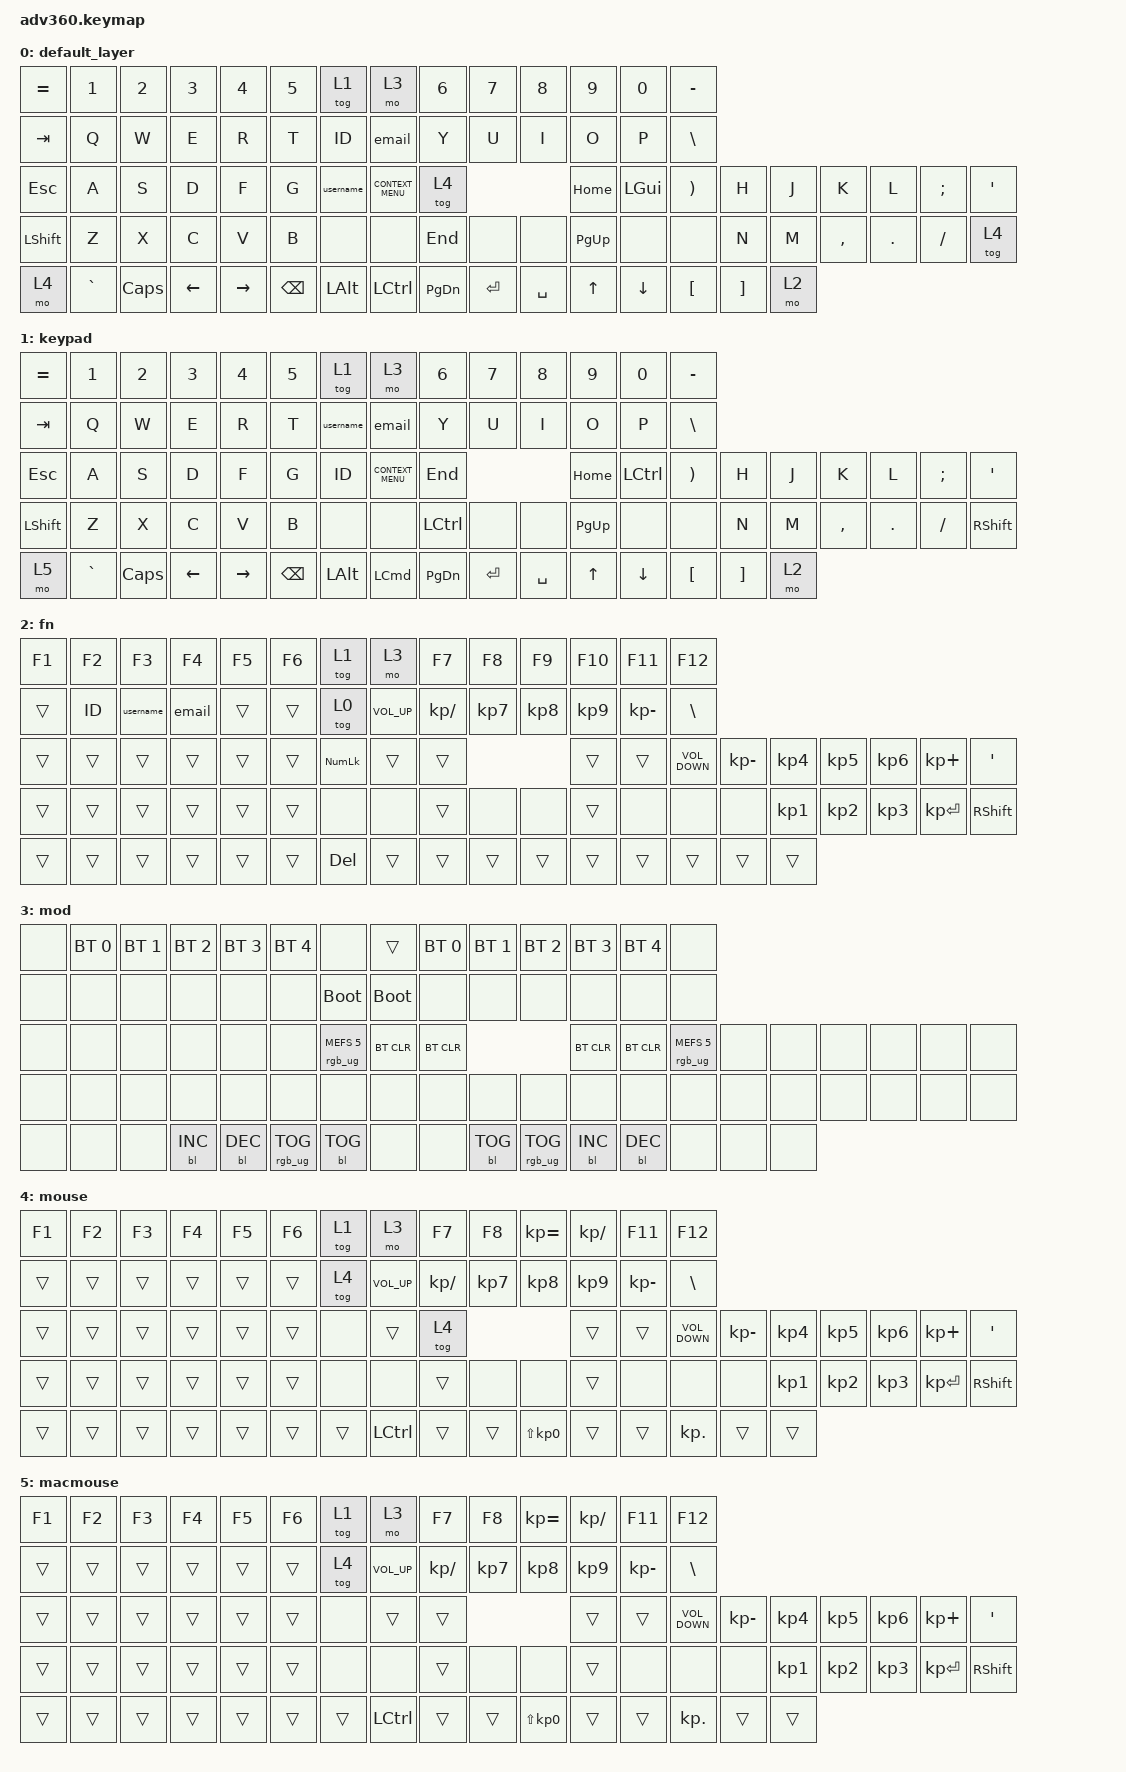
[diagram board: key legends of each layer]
#include <behaviors.dtsi>
#include <dt-bindings/zmk/backlight.h>
#include <dt-bindings/zmk/bt.h>
#include <dt-bindings/zmk/keys.h>
#include <dt-bindings/zmk/rgb.h>

/ {
    behaviors {
        #include "macros.dtsi"

        hm: homerow_mods {
            compatible = "zmk,behavior-hold-tap";
            label = "HOMEROW_MODS";
            #binding-cells = <2>;
            tapping-term-ms = <200>;
            quick_tap_ms = <175>;
            flavor = "tap-preferred";
            bindings = <&kp>, <&kp>;
        };
    };

    macros {
        ID: ID {
            compatible = "zmk,behavior-macro";
            #binding-cells = <0>;
            bindings = <&kp N3 &kp N0 &kp N9 &kp N9 &kp N5 &kp N2 &kp N9 &kp N6>;
            label = "ID";
        };

        username: mouse_keys {
            compatible = "zmk,behavior-macro";
            #binding-cells = <0>;
            bindings = <&kp W &kp W &kp A &kp N &kp G &kp N8 &kp N3 &kp N1>;
            label = "MOUSE_KEYS";
        };

        email: email {
            compatible = "zmk,behavior-macro";
            #binding-cells = <0>;
            bindings = <&kp W &kp W &kp A &kp N &kp G &kp N8 &kp N3 &kp N1 &kp AT &kp B &kp L &kp O &kp O &kp M &kp B &kp E &kp R &kp G &kp DOT &kp N &kp E &kp T>;
            label = "EMAIL";
        };
    };

    keymap {
        compatible = "zmk,keymap";

        default_layer {
            bindings = <
&kp EQUAL  &kp N1     &kp N2    &kp N3    &kp N4     &kp N5    &tog 1     &mo 3               &kp N6     &kp N7     &kp N8     &kp N9     &kp N0    &kp MINUS
&kp TAB    &kp Q      &kp W     &kp E     &kp R      &kp T     &ID        &email              &kp Y      &kp U      &kp I      &kp O      &kp P     &kp BSLH
&kp ESC    &kp A      &kp S     &kp D     &kp F      &kp G     &username  &kp K_CONTEXT_MENU  &tog 4                           &kp HOME   &kp LGUI  &kp RIGHT_PARENTHESIS  &kp H     &kp J  &kp K      &kp L    &kp SEMI  &kp SQT
&kp LSHFT  &kp Z      &kp X     &kp C     &kp V      &kp B     &none      &none               &kp END    &none      &none      &kp PG_UP  &none     &none                  &kp N     &kp M  &kp COMMA  &kp DOT  &kp FSLH  &tog 4
&mo 4      &kp GRAVE  &kp CAPS  &kp LEFT  &kp RIGHT  &kp BKSP  &kp LALT   &kp LCTRL           &kp PG_DN  &kp ENTER  &kp SPACE  &kp UP     &kp DOWN  &kp LBKT               &kp RBKT  &mo 2
            >;
        };

        keypad {
            bindings = <
&kp EQUAL  &kp N1     &kp N2    &kp N3    &kp N4     &kp N5         &tog 1     &mo 3               &kp N6     &kp N7     &kp N8     &kp N9     &kp N0     &kp MINUS
&kp TAB    &kp Q      &kp W     &kp E     &kp R      &kp T          &username  &email              &kp Y      &kp U      &kp I      &kp O      &kp P      &kp BSLH
&kp ESC    &kp A      &kp S     &kp D     &kp F      &kp G          &ID        &kp K_CONTEXT_MENU  &kp END                          &kp HOME   &kp LCTRL  &kp RIGHT_PARENTHESIS  &kp H     &kp J  &kp K      &kp L    &kp SEMI  &kp SQT
&kp LSHFT  &kp Z      &kp X     &kp C     &kp V      &kp B          &none      &none               &kp LCTRL  &none      &none      &kp PG_UP  &none      &none                  &kp N     &kp M  &kp COMMA  &kp DOT  &kp FSLH  &kp RSHFT
&mo 5      &kp GRAVE  &kp CAPS  &kp LEFT  &kp RIGHT  &kp BACKSPACE  &kp LALT   &kp LEFT_COMMAND    &kp PG_DN  &kp ENTER  &kp SPACE  &kp UP     &kp DOWN   &kp LBKT               &kp RBKT  &mo 2
            >;
        };

        fn {
            bindings = <
&kp F1  &kp F2  &kp F3     &kp F4  &kp F5  &kp F6  &tog 1      &mo 3            &kp F7         &kp F8     &kp F9     &kp F10    &kp F11       &kp F12
&trans  &ID     &username  &email  &trans  &trans  &tog 0      &kp C_VOLUME_UP  &kp KP_DIVIDE  &kp KP_N7  &kp KP_N8  &kp KP_N9  &kp KP_MINUS  &kp BSLH
&trans  &trans  &trans     &trans  &trans  &trans  &kp KP_NUM  &trans           &trans                               &trans     &trans        &kp C_VOLUME_DOWN  &kp KP_MINUS  &kp KP_N4  &kp KP_N5  &kp KP_N6  &kp KP_PLUS   &kp SQT
&trans  &trans  &trans     &trans  &trans  &trans  &none       &none            &trans         &none      &none      &trans     &none         &none              &none         &kp KP_N1  &kp KP_N2  &kp KP_N3  &kp KP_ENTER  &kp RSHFT
&trans  &trans  &trans     &trans  &trans  &trans  &kp DEL     &trans           &trans         &trans     &trans     &trans     &trans        &trans             &trans        &trans
            >;
        };

        mod {
            bindings = <
&none  &bt BT_SEL 0  &bt BT_SEL 1  &bt BT_SEL 2  &bt BT_SEL 3  &bt BT_SEL 4     &none                   &trans       &bt BT_SEL 0  &bt BT_SEL 1  &bt BT_SEL 2     &bt BT_SEL 3  &bt BT_SEL 4  &none
&none  &none         &none         &none         &none         &none            &bootloader             &bootloader  &none         &none         &none            &none         &none         &none
&none  &none         &none         &none         &none         &none            &rgb_ug RGB_MEFS_CMD 5  &bt BT_CLR   &bt BT_CLR                                   &bt BT_CLR    &bt BT_CLR    &rgb_ug RGB_MEFS_CMD 5  &none  &none  &none  &none  &none  &none
&none  &none         &none         &none         &none         &none            &none                   &none        &none         &none         &none            &none         &none         &none                   &none  &none  &none  &none  &none  &none
&none  &none         &none         &bl BL_INC    &bl BL_DEC    &rgb_ug RGB_TOG  &bl BL_TOG              &none        &none         &bl BL_TOG    &rgb_ug RGB_TOG  &bl BL_INC    &bl BL_DEC    &none                   &none  &none
            >;
        };

        mouse {
            bindings = <
&kp F1  &kp F2  &kp F3  &kp F4  &kp F5  &kp F6  &tog 1  &mo 3            &kp F7         &kp F8     &kp KP_EQUAL   &kp KP_SLASH  &kp F11       &kp F12
&trans  &trans  &trans  &trans  &trans  &trans  &tog 4  &kp C_VOLUME_UP  &kp KP_DIVIDE  &kp KP_N7  &kp KP_N8      &kp KP_N9     &kp KP_MINUS  &kp BSLH
&trans  &trans  &trans  &trans  &trans  &trans  &none   &trans           &tog 4                                   &trans        &trans        &kp C_VOLUME_DOWN  &kp KP_MINUS  &kp KP_N4  &kp KP_N5  &kp KP_N6  &kp KP_PLUS   &kp SQT
&trans  &trans  &trans  &trans  &trans  &trans  &none   &none            &trans         &none      &none          &trans        &none         &none              &none         &kp KP_N1  &kp KP_N2  &kp KP_N3  &kp KP_ENTER  &kp RSHFT
&trans  &trans  &trans  &trans  &trans  &trans  &trans  &kp LCTRL        &trans         &trans     &kp LS(KP_N0)  &trans        &trans        &kp KP_DOT         &trans        &trans
            >;
        };

        macmouse {
            bindings = <
&kp F1  &kp F2  &kp F3  &kp F4  &kp F5  &kp F6  &tog 1  &mo 3            &kp F7         &kp F8     &kp KP_EQUAL   &kp KP_SLASH  &kp F11       &kp F12
&trans  &trans  &trans  &trans  &trans  &trans  &tog 4  &kp C_VOLUME_UP  &kp KP_DIVIDE  &kp KP_N7  &kp KP_N8      &kp KP_N9     &kp KP_MINUS  &kp BSLH
&trans  &trans  &trans  &trans  &trans  &trans  &none   &trans           &trans                                   &trans        &trans        &kp C_VOLUME_DOWN  &kp KP_MINUS  &kp KP_N4  &kp KP_N5  &kp KP_N6  &kp KP_PLUS   &kp SQT
&trans  &trans  &trans  &trans  &trans  &trans  &none   &none            &trans         &none      &none          &trans        &none         &none              &none         &kp KP_N1  &kp KP_N2  &kp KP_N3  &kp KP_ENTER  &kp RSHFT
&trans  &trans  &trans  &trans  &trans  &trans  &trans  &kp LCTRL        &trans         &trans     &kp LS(KP_N0)  &trans        &trans        &kp KP_DOT         &trans        &trans
            >;
        };
    };
};
